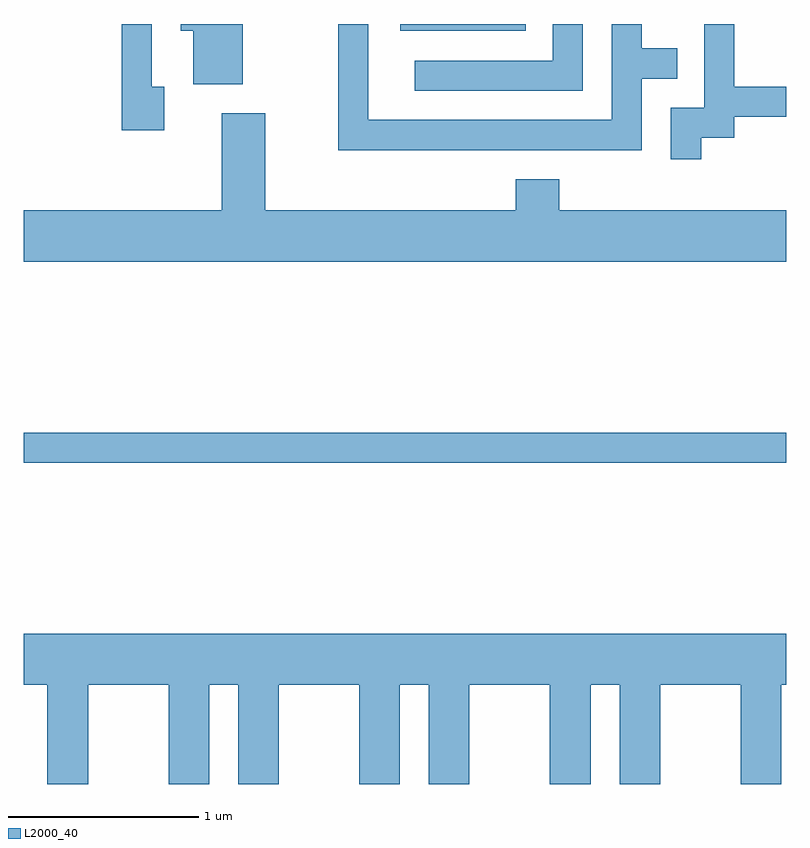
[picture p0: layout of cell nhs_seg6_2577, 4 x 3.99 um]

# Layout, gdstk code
import gdstk
lib = gdstk.Library(unit=1e-6, precision=1e-09)
def R(c, l, rs):  # rectangles x0, y0, x1, y1
    for r in rs: c.add(gdstk.rectangle(r[:2], r[2:], *l))
def P(c, l, *ps):  # polygons
    for p in ps: c.add(gdstk.Polygon(p, *l))
L2000_40 = (2000, 40)

nhs_seg6_2577 = lib.new_cell('nhs_seg6_2577')
R(nhs_seg6_2577, L2000_40, [(263.611,1557.861,267.611,1558.019), (265.586,1560.126,266.243,1560.162)])
P(nhs_seg6_2577, L2000_40, [(264.349,1559.834),(264.284,1559.834),(264.284,1560.162),(264.126,1560.162),(264.126,1559.606),(264.349,1559.606)],
  [(266.544,1560.162),(266.386,1560.162),(266.386,1559.969),(265.663,1559.969),(265.663,1559.811),(266.544,1559.811)],
  [(264.759,1560.162),(264.436,1560.162),(264.436,1560.126),(264.501,1560.126),(264.501,1559.846),(264.759,1559.846)],
  [(267.164,1559.566),(267.339,1559.566),(267.339,1559.676),(267.611,1559.676),(267.611,1559.834),(267.339,1559.834),(267.339,1560.162),(267.181,1560.162),(267.181,1559.724),(267.006,1559.724),(267.006,1559.453),(267.164,1559.453)],
  [(266.854,1559.876),(267.038,1559.876),(267.038,1560.034),(266.854,1560.034),(266.854,1560.162),(266.696,1560.162),(266.696,1559.659),(265.419,1559.659),(265.419,1560.162),(265.261,1560.162),(265.261,1559.501),(266.854,1559.501)],
  [(267.611,1559.184),(266.419,1559.184),(266.419,1559.349),(266.191,1559.349),(266.191,1559.184),(264.879,1559.184),(264.879,1559.694),(264.651,1559.694),(264.651,1559.184),(263.611,1559.184),(263.611,1558.916),(267.611,1558.916)],
  [(263.949,1556.696),(264.371,1556.696),(264.371,1556.176),(264.584,1556.176),(264.584,1556.696),(264.736,1556.696),(264.736,1556.176),(264.949,1556.176),(264.949,1556.696),(265.371,1556.696),(265.371,1556.176),(265.584,1556.176),(265.584,1556.696),(265.736,1556.696),(265.736,1556.176),(265.949,1556.176),(265.949,1556.696),(266.371,1556.696),(266.371,1556.176),(266.584,1556.176),(266.584,1556.696),(266.736,1556.696),(266.736,1556.176),(266.949,1556.176),(266.949,1556.696),(267.371,1556.696),(267.371,1556.176),(267.584,1556.176),(267.584,1556.696),(267.611,1556.696),(267.611,1556.964),(263.611,1556.964),(263.611,1556.696),(263.736,1556.696),(263.736,1556.176),(263.949,1556.176)])

lib.write_gds('nhs_seg6_2577.gds')
